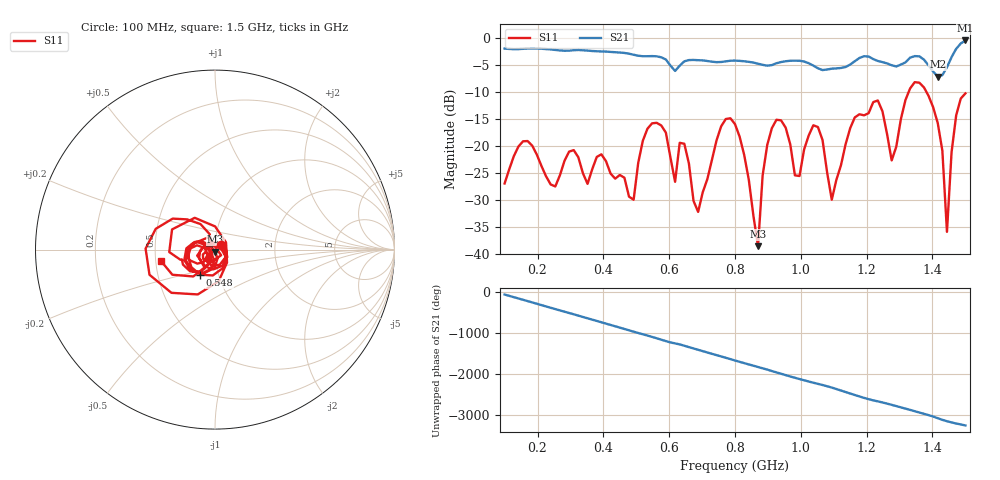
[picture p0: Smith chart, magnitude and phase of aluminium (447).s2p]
! NanoVNA-App
! Date: 2025-09-25 14:58:45
! Start: 100MHz Stop: 1,5GHz Points: 101
! S-Parameter data: F S11 S21 S12 S22
# Hz S RI R 50
!  Frequency  S11_Real  S11_Imag  S21_Real  S21_Imag  S12_Real  S12_Imag  S22_Real  S22_Imag
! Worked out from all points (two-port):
!   101 points, 100 MHz to 1.5 GHz, reference 50 ohm
!   highest |S21| = -0.41 dB at 1.5 GHz (marker M1); lowest = -7.1 dB at 1.416 GHz (marker M2)
!   |S21| within 3 dB of the highest: start of sweep to 566.5 MHz; 1.459 GHz to end of sweep (the widest 2 of 4)
!   lowest |S11| = -38.6 dB at 870 MHz (marker M3), VSWR 1.02, Z = 50.2 - j1.16 ohm
!   |S11| at or under -10 dB: start of sweep to 1.328 GHz; 1.382 GHz to end of sweep
!   S12 and S22 are empty: the file has one direction only
!   S11 on the Smith chart (normalised r, x): 100 MHz: 1.07, +0.06; 548 MHz: 0.82, -0.24; 1.5 GHz: 0.53, -0.08
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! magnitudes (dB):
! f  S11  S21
! 100 MHz  -27.0  -1.9
! 156 MHz  -19.1  -2.0
! 338 MHz  -25.1  -2.2
! 492 MHz  -30.0  -3.1
! 548 MHz  -15.8  -3.3
! 576 MHz  -16.2  -3.5
! 618 MHz  -26.7  -6.1
! 646 MHz  -19.6  -4.3
! 688 MHz  -32.2  -4.1
! 800 MHz  -15.9  -4.2
! 870 MHz  -38.6  -4.7
! 912 MHz  -16.7  -5.0
! 996 MHz  -25.6  -4.2
! 1.038 GHz  -16.2  -5.1
! 1.094 GHz  -30.0  -5.7
! 1.22 GHz  -11.9  -3.9
! 1.276 GHz  -22.7  -5.0
! 1.346 GHz  -8.2  -3.3
! 1.416 GHz  -15.7  -7.1
! 1.444 GHz  -35.9  -5.4
! 1.472 GHz  -14.3  -2.0
! 1.5 GHz  -10.2  -0.4
